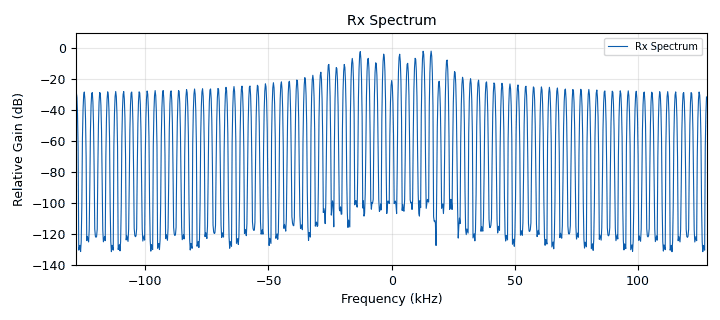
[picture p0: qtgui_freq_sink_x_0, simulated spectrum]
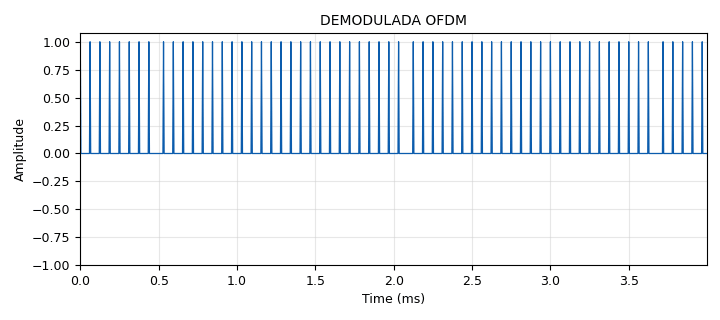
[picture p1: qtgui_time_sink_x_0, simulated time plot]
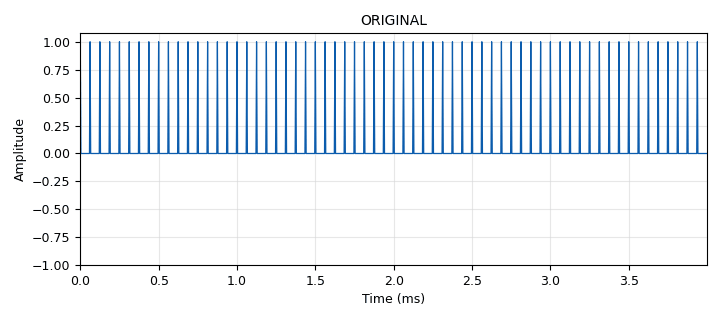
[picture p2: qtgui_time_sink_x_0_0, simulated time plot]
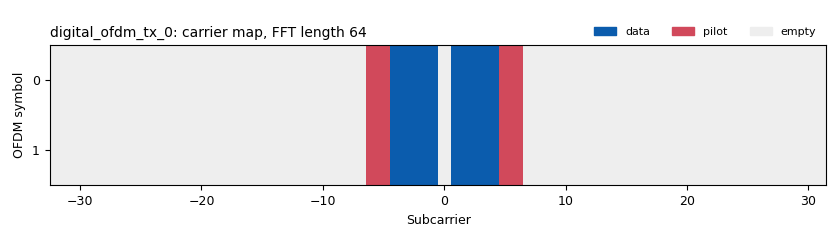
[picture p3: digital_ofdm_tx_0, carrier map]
options:
  parameters:
    author: Camila Vinza
    category: Custom
    description: OFDM Modulation
    generate_options: qt_gui
    id: OFDM
    output_language: python
    title: OFDM
  states: {}

blocks:
- name: delay
  id: variable_qtgui_range
  parameters:
    label: delay
    start: '1'
    step: '1'
    stop: '200'
    value: '100'
  states: {}
- name: fft_len
  id: variable
  parameters:
    value: '64'
  states: {}
- name: freq_rds
  id: variable
  parameters:
    value: 70e6
  states: {}
- name: gainrx
  id: variable_qtgui_range
  parameters:
    label: GananciaRx
    start: '0'
    step: '1'
    stop: '100'
    value: '0'
  states: {}
- name: gaintx
  id: variable_qtgui_range
  parameters:
    label: GananciaTx
    start: '1'
    step: '1'
    stop: '200'
    value: '75'
  states: {}
- name: len_tag_key
  id: variable
  parameters:
    value: '"packet_len"'
  states: {}
- name: packet_len
  id: variable
  parameters:
    value: '50'
  states: {}
- name: samp_rate
  id: variable
  parameters:
    value: '256000'
  states: {}
- name: samp_rate_RDS
  id: variable
  parameters:
    value: samp_rate
  states: {}
- name: taps
  id: variable
  parameters:
    value: '[1.0 + 0.0j, ]'
  states: {}
- name: blocks_char_to_float_0
  id: blocks_char_to_float
  parameters:
    scale: '1'
  states: {}
- name: blocks_repack_bits_bb_0
  id: blocks_repack_bits_bb
  parameters:
    endianness: gr.GR_LSB_FIRST
    k: '8'
    l: '1'
  states: {}
- name: blocks_repack_bits_bb_0_0
  id: blocks_repack_bits_bb
  parameters:
    endianness: gr.GR_LSB_FIRST
    k: '8'
    l: '1'
  states: {}
- name: blocks_stream_to_tagged_stream_0
  id: blocks_stream_to_tagged_stream
  parameters:
    comment: |-
      Permite etiquetar el paquete 
      de datos generado.
    len_tag_key: len_tag_key
    packet_len: '51'
    type: byte
  states: {}
- name: blocks_throttle2_0
  id: blocks_throttle2
  parameters:
    samples_per_second: samp_rate
    type: complex
  states: {}
- name: blocks_uchar_to_float_0_0
  id: blocks_uchar_to_float
  parameters: {}
  states: {}
- name: blocks_vector_source_x_0
  id: blocks_vector_source_x
  parameters:
    repeat: 'True'
    type: byte
    vector: '[1,0,1,0,1,0]'
  states: {}
- name: delay_1
  id: blocks_delay
  parameters:
    delay: delay
    type: byte
  states: {}
- name: digital_ofdm_rx_0
  id: digital_ofdm_rx
  parameters:
    cp_len: fft_len//4
    fft_len: fft_len
    header_mod: '"BPSK"'
    occupied_carriers: ((-4,-3,-2,-1,1,2,3,4),)
    packet_len_key: '"rx_len"'
    payload_mod: '"QPSK"'
    pilot_carriers: ((-6,-5,5,6),)
    pilot_symbols: ((-1,1,-1,1),)
    sync_word1: None
    sync_word2: None
  states: {}
- name: digital_ofdm_tx_0
  id: digital_ofdm_tx
  parameters:
    cp_len: fft_len//4
    fft_len: fft_len
    header_mod: '"BPSK"'
    occupied_carriers: ((-4,-3,-2,-1,1,2,3,4),)
    packet_len_key: len_tag_key
    payload_mod: '"QPSK"'
    pilot_carriers: ((-6,-5,5,6),)
    pilot_symbols: ((-1,1,-1,1),)
    rolloff: '0'
    sync_word1: None
    sync_word2: None
  states: {}
- name: qtgui_freq_sink_x_0
  id: qtgui_freq_sink_x
  parameters:
    bw: samp_rate
    ctrlpanel: 'True'
    fc: '0'
    fftsize: '1024'
    label1: Rx Spectrum
    name: Rx Spectrum
    showports: 'True'
    type: complex
  states: {}
- name: qtgui_time_sink_x_0
  id: qtgui_time_sink_x
  parameters:
    color1: cyan
    entags: 'False'
    gui_hint: 1,2,1,2
    label1: ''
    name: DEMODULADA OFDM
    size: '1024'
    srate: samp_rate
    type: float
    update_time: '0.30'
  states: {}
- name: qtgui_time_sink_x_0_0
  id: qtgui_time_sink_x
  parameters:
    color1: red
    ctrlpanel: 'True'
    entags: 'False'
    gui_hint: 1,0,1,2
    label1: ''
    name: ORIGINAL
    size: '1024'
    srate: samp_rate
    type: float
    update_time: '0.30'
  states: {}
- name: uhd_usrp_sink_0_0
  id: uhd_usrp_sink
  parameters:
    ant0: '"TX/RX"'
    bw0: 200e3
    center_freq0: freq_rds
    comment: Transmisor USRP
    dev_addr: '"serial=30875AE"'
    gain0: gaintx
    samp_rate: samp_rate_RDS
    sync: sync
    type: fc32
  states: {state: disabled}
- name: uhd_usrp_source_0
  id: uhd_usrp_source
  parameters:
    ant0: '"RX2"'
    bw0: 200e3
    center_freq0: freq_rds
    comment: Receptor USRP
    dev_addr: '"serial=30875AE"'
    gain0: gainrx
    samp_rate: samp_rate_RDS
    sync: pc_clock_next_pps
    type: fc32
  states: {state: disabled}
- name: virtual_sink_0
  id: virtual_sink
  parameters:
    stream_id: t1
  states: {}
- name: virtual_sink_1
  id: virtual_sink
  parameters:
    stream_id: original
  states: {}
- name: virtual_source_0
  id: virtual_source
  parameters:
    stream_id: t1
  states: {}
- name: virtual_source_1
  id: virtual_source
  parameters:
    stream_id: original
  states: {}

connections:
- [blocks_char_to_float_0, '0', qtgui_time_sink_x_0, '0']
- [blocks_repack_bits_bb_0, '0', blocks_char_to_float_0, '0']
- [blocks_repack_bits_bb_0_0, '0', blocks_uchar_to_float_0_0, '0']
- [blocks_stream_to_tagged_stream_0, '0', digital_ofdm_tx_0, '0']
- [blocks_throttle2_0, '0', uhd_usrp_sink_0_0, '0']
- [blocks_throttle2_0, '0', virtual_sink_0, '0']
- [blocks_uchar_to_float_0_0, '0', qtgui_time_sink_x_0_0, '0']
- [blocks_vector_source_x_0, '0', blocks_stream_to_tagged_stream_0, '0']
- [blocks_vector_source_x_0, '0', virtual_sink_1, '0']
- [delay_1, '0', blocks_repack_bits_bb_0_0, '0']
- [digital_ofdm_rx_0, '0', blocks_repack_bits_bb_0, '0']
- [digital_ofdm_tx_0, '0', blocks_throttle2_0, '0']
- [digital_ofdm_tx_0, '0', qtgui_freq_sink_x_0, '0']
- [uhd_usrp_source_0, '0', digital_ofdm_rx_0, '0']
- [virtual_source_0, '0', digital_ofdm_rx_0, '0']
- [virtual_source_1, '0', delay_1, '0']

metadata:
  file_format: 1
  grc_version: 3.10.8.0
